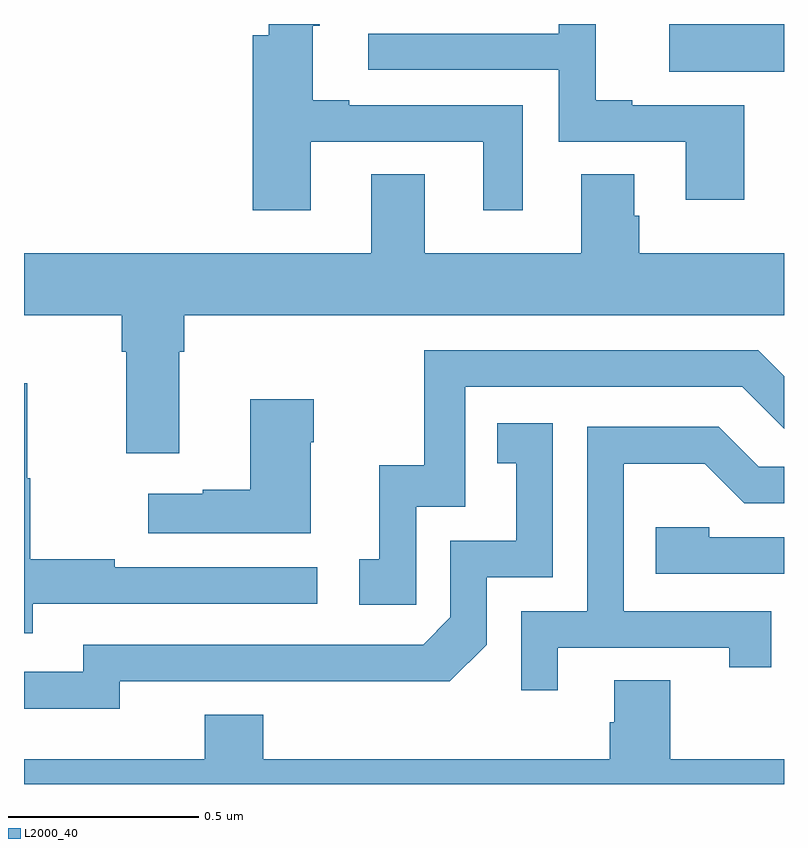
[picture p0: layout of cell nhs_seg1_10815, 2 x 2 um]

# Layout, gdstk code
import gdstk
lib = gdstk.Library(unit=1e-6, precision=1e-09)
def R(c, l, rs):  # rectangles x0, y0, x1, y1
    for r in rs: c.add(gdstk.rectangle(r[:2], r[2:], *l))
def P(c, l, *ps):  # polygons
    for p in ps: c.add(gdstk.Polygon(p, *l))
L2000_40 = (2000, 40)

nhs_seg1_10815 = lib.new_cell('nhs_seg1_10815')
R(nhs_seg1_10815, L2000_40, [(247.698,519.074,248,519.199)])
P(nhs_seg1_10815, L2000_40, [(246.754,518.889),(247.208,518.889),(247.208,518.709),(247.312,518.709),(247.312,518.985),(246.856,518.985),(246.856,518.998),(246.76,518.998),(246.76,519.194),(246.778,519.194),(246.778,519.199),(246.644,519.199),(246.644,519.169),(246.602,519.169),(246.602,518.709),(246.754,518.709)],
  [(247.895,518.985),(247.6,518.985),(247.6,518.998),(247.505,518.998),(247.505,519.199),(247.407,519.199),(247.407,519.174),(246.906,519.174),(246.906,519.078),(247.407,519.078),(247.407,518.889),(247.742,518.889),(247.742,518.736),(247.895,518.736)],
  [(246.409,518.336),(246.422,518.336),(246.422,518.432),(248,518.432),(248,518.596),(247.619,518.596),(247.619,518.694),(247.606,518.694),(247.606,518.804),(247.466,518.804),(247.466,518.596),(247.054,518.596),(247.054,518.804),(246.914,518.804),(246.914,518.596),(246,518.596),(246,518.432),(246.257,518.432),(246.257,518.336),(246.269,518.336),(246.269,518.07),(246.409,518.07)],
  [(247.032,517.929),(247.161,517.929),(247.161,518.244),(247.89,518.244),(248,518.134),(248,518.272),(247.932,518.34),(247.053,518.34),(247.053,518.038),(246.935,518.038),(246.935,517.791),(246.882,517.791),(246.882,517.671),(247.032,517.671)],
  [(246.023,517.674),(246.772,517.674),(246.772,517.77),(246.239,517.77),(246.239,517.79),(246.016,517.79),(246.016,518.004),(246.008,518.004),(246.008,518.254),(246,518.254),(246,517.596),(246.023,517.596)],
  [(246.754,518.099),(246.762,518.099),(246.762,518.212),(246.596,518.212),(246.596,517.973),(246.47,517.973),(246.47,517.963),(246.327,517.963),(246.327,517.859),(246.754,517.859)],
  [(246.252,517.47),(246.712,517.47),(246.712,517.469),(247.12,517.469),(247.218,517.566),(247.218,517.743),(247.392,517.743),(247.392,518.149),(247.246,518.149),(247.246,518.043),(247.295,518.043),(247.295,517.839),(247.122,517.839),(247.122,517.638),(247.05,517.566),(246.156,517.566),(246.156,517.494),(246,517.494),(246,517.397),(246.252,517.397)],
  [(247.405,517.557),(247.856,517.557),(247.856,517.506),(247.967,517.506),(247.967,517.653),(247.578,517.653),(247.578,518.042),(247.792,518.042),(247.896,517.938),(248,517.938),(248,518.034),(247.933,518.034),(247.828,518.139),(247.482,518.139),(247.482,517.653),(247.308,517.653),(247.308,517.446),(247.405,517.446)],
  [(248,517.848),(247.803,517.848),(247.803,517.875),(247.663,517.875),(247.663,517.752),(248,517.752)],
  [(248,517.264),(247.701,517.264),(247.701,517.472),(247.553,517.472),(247.553,517.362),(247.541,517.362),(247.541,517.264),(246.629,517.264),(246.629,517.381),(246.476,517.381),(246.476,517.264),(246,517.264),(246,517.199),(248,517.199)])

lib.write_gds('nhs_seg1_10815.gds')
